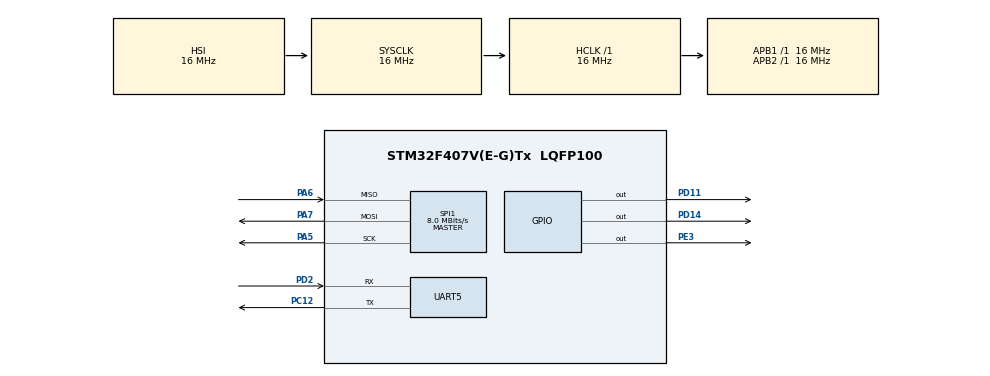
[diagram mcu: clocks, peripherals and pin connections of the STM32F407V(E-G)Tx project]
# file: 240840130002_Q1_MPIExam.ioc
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Mcu.Family=STM32F4
Mcu.Name=STM32F407V(E-G)Tx
Mcu.Package=LQFP100
NVIC.PriorityGroup=NVIC_PRIORITYGROUP_4
NVIC.SPI1_IRQn=true\:0\:0\:false\:false\:true\:true\:true\:true
NVIC.UART5_IRQn=true\:0\:0\:false\:false\:true\:true\:true\:true
PA5.Mode=Full_Duplex_Master
PA5.Signal=SPI1_SCK
PA6.Mode=Full_Duplex_Master
PA6.Signal=SPI1_MISO
PA7.Mode=Full_Duplex_Master
PA7.Signal=SPI1_MOSI
PC12.Mode=Asynchronous
PC12.Signal=UART5_TX
PD11.Signal=GPIO_Output
PD14.Signal=GPIO_Output
PD2.Mode=Asynchronous
PD2.Signal=UART5_RX
PE3.PinState=GPIO_PIN_SET
PE3.Signal=GPIO_Output
ProjectManager.HeapSize=0x200
ProjectManager.StackSize=0x400
ProjectManager.TargetToolchain=STM32CubeIDE
RCC.AHBFreq_Value=16000000
RCC.APB1Freq_Value=16000000
RCC.APB2Freq_Value=16000000
RCC.CortexFreq_Value=16000000
RCC.HSE_VALUE=25000000
RCC.HSI_VALUE=16000000
RCC.LSE_VALUE=32768
RCC.SYSCLKFreq_VALUE=16000000
RCC.VCOOutputFreq_Value=192000000
SPI1.CalculateBaudRate=8.0 MBits/s
SPI1.Direction=SPI_DIRECTION_2LINES
SPI1.Mode=SPI_MODE_MASTER
SPI1.VirtualType=VM_MASTER
UART5.VirtualMode=Asynchronous
board=custom

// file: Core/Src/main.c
/* USER CODE BEGIN Header */
/**
  ******************************************************************************
  * @file           : main.c
  * @brief          : Main program body
  ******************************************************************************
  * @attention
  *
  * Copyright (c) 2024 STMicroelectronics.
  * All rights reserved.
  *
  * This software is licensed under terms that can be found in the LICENSE file
  * in the root directory of this software component.
  * If no LICENSE file comes with this software, it is provided AS-IS.
  *
  ******************************************************************************
  */
/* USER CODE END Header */
#include "main.h"

/* USER CODE BEGIN Includes */
#include "string.h"
#include "stdio.h"
/* USER CODE END Includes */

SPI_HandleTypeDef hspi1;

UART_HandleTypeDef huart5;

void SystemClock_Config(void);
static void MX_GPIO_Init(void);
static void MX_SPI1_Init(void);
static void MX_UART5_Init(void);
/* USER CODE BEGIN PFP */
char dir[30]={0};
uint8_t txbuff[2];
uint8_t rx,ry,rz;
uint8_t prev_x,prev_y,prev_z;//FOR STORE PREVIOUS VALUE
/* USER CODE END PFP */

int main(void)
{

  /* MCU Configuration--------------------------------------------------------*/

  /* Reset of all peripherals, Initializes the Flash interface and the Systick. */
  HAL_Init();

  /* Configure the system clock */
  SystemClock_Config();

  /* Initialize all configured peripherals */
  MX_GPIO_Init();
  MX_SPI1_Init();
  MX_UART5_Init();
  /* USER CODE BEGIN 2 */
  HAL_GPIO_WritePin(GPIOE, GPIO_PIN_3,0);  //writing pin PE3 low to start communication
  txbuff[0]=0x20;
  txbuff[1]=0x37;  //for setting the accerarometer
  HAL_SPI_Transmit(&hspi1,(uint8_t *)txbuff, 2, 20);
  HAL_GPIO_WritePin(GPIOE, GPIO_PIN_3,1);//writing pin PE3 high to stop communication
  /* USER CODE END 2 */

  /* Infinite loop */
  /* USER CODE BEGIN WHILE */
  while (1)
  {
	    //	For X
	   HAL_GPIO_WritePin(GPIOE, GPIO_PIN_3,0);  //writing pin PE3 low to start communication
	   txbuff[0]=0x29|0x80;
	   HAL_SPI_Transmit(&hspi1,(uint8_t *)txbuff, 1, 20);
	   HAL_SPI_Receive(&hspi1, &rx, 1, 20);
	   HAL_GPIO_WritePin(GPIOE, GPIO_PIN_3,1);//writing pin PE3 high to stop communication

	   //	For y
	    HAL_GPIO_WritePin(GPIOE, GPIO_PIN_3,0);  //writing pin PE3 low to start communication
	    txbuff[0]=0x2C|0x80;
	    HAL_SPI_Transmit(&hspi1,(uint8_t *)txbuff, 1, 20);
	    HAL_SPI_Receive(&hspi1, &ry, 1, 20);
	    HAL_GPIO_WritePin(GPIOE, GPIO_PIN_3,1);//writing pin PE3 high to stop communication

	    //	For z
	     HAL_GPIO_WritePin(GPIOE, GPIO_PIN_3,0);  //writing pin PE3 low to start communication
	     txbuff[0]=0x2D|0x80;
	     HAL_SPI_Transmit(&hspi1,(uint8_t *)txbuff, 1, 20);
	     HAL_SPI_Receive(&hspi1, &rz, 1, 20);
	     HAL_GPIO_WritePin(GPIOE, GPIO_PIN_3,1);//writing pin PE3 high to stop communication

	     //For giving Direction to UART

	     if(((prev_x-5 <= rx && rx<=prev_x+5) && (prev_y-5 <= ry && ry<=prev_y+5) && (prev_z-5 <= rz && rz<=prev_z+5))
	     			  ||( ((rx == 0) || (rx == 255)) || (ry == 0 || ry == 255) ||  (rz == 0 || rz == 255)))
	     	  {
	    	 	 	sprintf(dir,"Tilt:-> Balance\r\n");
	    	 	 	//FOR UART TRANSMISSION
	    	 	 	HAL_UART_Transmit(&huart5, (uint8_t *)dir, strlen(dir), 30);
	     			HAL_Delay(200);
	     			bzero(dir,30);
	     		    //HAL_GPIO_WritePin(GPIOD, GPIO_PIN_14,1);
	     	  }
	     	  else{
	     		  if(prev_x-5 > rx || rx > prev_x+5)
	     		  {
	     			 sprintf(dir,"Tilt:-> Left\r\n");
	     			//FOR UART TRANSMISSION
	     			 HAL_UART_Transmit(&huart5, (uint8_t *)dir, strlen(dir), 30);
	     			  HAL_Delay(300);
	     			 bzero(dir,30);//FOR MAKING ALL BIT ZERO
	     		  }
	     		  if(prev_y-5 > ry || ry > prev_y+5)
	     		  {
	     			 sprintf(dir,"Tilt:-> Right\r\n");
	     			//FOR UART TRANSMISSION
	     			 HAL_UART_Transmit(&huart5, (uint8_t *)dir, strlen(dir), 30);
	     			  //HAL_GPIO_WritePin(GPIOD, GPIO_PIN_14, 0);
	     			  HAL_Delay(300);
	     			 bzero(dir,30);
	     		  }

	     	  }

	     prev_x=rx;
	     prev_y=ry;
	     prev_z=rz;
    /* USER CODE END WHILE */

  }
}

void SystemClock_Config(void)
{
  RCC_OscInitTypeDef RCC_OscInitStruct = {0};
  RCC_ClkInitTypeDef RCC_ClkInitStruct = {0};

  /** Configure the main internal regulator output voltage
  */
  __HAL_RCC_PWR_CLK_ENABLE();
  __HAL_PWR_VOLTAGESCALING_CONFIG(PWR_REGULATOR_VOLTAGE_SCALE1);

  /** Initializes the RCC Oscillators according to the specified parameters
  * in the RCC_OscInitTypeDef structure.
  */
  RCC_OscInitStruct.OscillatorType = RCC_OSCILLATORTYPE_HSI;
  RCC_OscInitStruct.HSIState = RCC_HSI_ON;
  RCC_OscInitStruct.HSICalibrationValue = RCC_HSICALIBRATION_DEFAULT;
  RCC_OscInitStruct.PLL.PLLState = RCC_PLL_NONE;
  if (HAL_RCC_OscConfig(&RCC_OscInitStruct) != HAL_OK)
  {
    Error_Handler();
  }

  /** Initializes the CPU, AHB and APB buses clocks
  */
  RCC_ClkInitStruct.ClockType = RCC_CLOCKTYPE_HCLK|RCC_CLOCKTYPE_SYSCLK
                              |RCC_CLOCKTYPE_PCLK1|RCC_CLOCKTYPE_PCLK2;
  RCC_ClkInitStruct.SYSCLKSource = RCC_SYSCLKSOURCE_HSI;
  RCC_ClkInitStruct.AHBCLKDivider = RCC_SYSCLK_DIV1;
  RCC_ClkInitStruct.APB1CLKDivider = RCC_HCLK_DIV1;
  RCC_ClkInitStruct.APB2CLKDivider = RCC_HCLK_DIV1;

  if (HAL_RCC_ClockConfig(&RCC_ClkInitStruct, FLASH_LATENCY_0) != HAL_OK)
  {
    Error_Handler();
  }
}

static void MX_SPI1_Init(void)
{

  /* SPI1 parameter configuration*/
  hspi1.Instance = SPI1;
  hspi1.Init.Mode = SPI_MODE_MASTER;
  hspi1.Init.Direction = SPI_DIRECTION_2LINES;
  hspi1.Init.DataSize = SPI_DATASIZE_8BIT;
  hspi1.Init.CLKPolarity = SPI_POLARITY_LOW;
  hspi1.Init.CLKPhase = SPI_PHASE_1EDGE;
  hspi1.Init.NSS = SPI_NSS_SOFT;
  hspi1.Init.BaudRatePrescaler = SPI_BAUDRATEPRESCALER_2;
  hspi1.Init.FirstBit = SPI_FIRSTBIT_MSB;
  hspi1.Init.TIMode = SPI_TIMODE_DISABLE;
  hspi1.Init.CRCCalculation = SPI_CRCCALCULATION_DISABLE;
  hspi1.Init.CRCPolynomial = 10;
  if (HAL_SPI_Init(&hspi1) != HAL_OK)
  {
    Error_Handler();
  }

}

static void MX_UART5_Init(void)
{

  huart5.Instance = UART5;
  huart5.Init.BaudRate = 115200;
  huart5.Init.WordLength = UART_WORDLENGTH_8B;
  huart5.Init.StopBits = UART_STOPBITS_1;
  huart5.Init.Parity = UART_PARITY_NONE;
  huart5.Init.Mode = UART_MODE_TX_RX;
  huart5.Init.HwFlowCtl = UART_HWCONTROL_NONE;
  huart5.Init.OverSampling = UART_OVERSAMPLING_16;
  if (HAL_UART_Init(&huart5) != HAL_OK)
  {
    Error_Handler();
  }

}

static void MX_GPIO_Init(void)
{
  GPIO_InitTypeDef GPIO_InitStruct = {0};

  /* GPIO Ports Clock Enable */
  __HAL_RCC_GPIOE_CLK_ENABLE();
  __HAL_RCC_GPIOA_CLK_ENABLE();
  __HAL_RCC_GPIOD_CLK_ENABLE();
  __HAL_RCC_GPIOC_CLK_ENABLE();

  /*Configure GPIO pin Output Level */
  HAL_GPIO_WritePin(GPIOE, GPIO_PIN_3, GPIO_PIN_SET);

  /*Configure GPIO pin Output Level */
  HAL_GPIO_WritePin(GPIOD, GPIO_PIN_11|GPIO_PIN_14, GPIO_PIN_RESET);

  /*Configure GPIO pin : PE3 */
  GPIO_InitStruct.Pin = GPIO_PIN_3;
  GPIO_InitStruct.Mode = GPIO_MODE_OUTPUT_PP;
  GPIO_InitStruct.Pull = GPIO_NOPULL;
  GPIO_InitStruct.Speed = GPIO_SPEED_FREQ_LOW;
  HAL_GPIO_Init(GPIOE, &GPIO_InitStruct);

  /*Configure GPIO pins : PD11 PD14 */
  GPIO_InitStruct.Pin = GPIO_PIN_11|GPIO_PIN_14;
  GPIO_InitStruct.Mode = GPIO_MODE_OUTPUT_PP;
  GPIO_InitStruct.Pull = GPIO_NOPULL;
  GPIO_InitStruct.Speed = GPIO_SPEED_FREQ_LOW;
  HAL_GPIO_Init(GPIOD, &GPIO_InitStruct);

}

void Error_Handler(void)
{
  __disable_irq();
  while (1)
  {
  }
}
